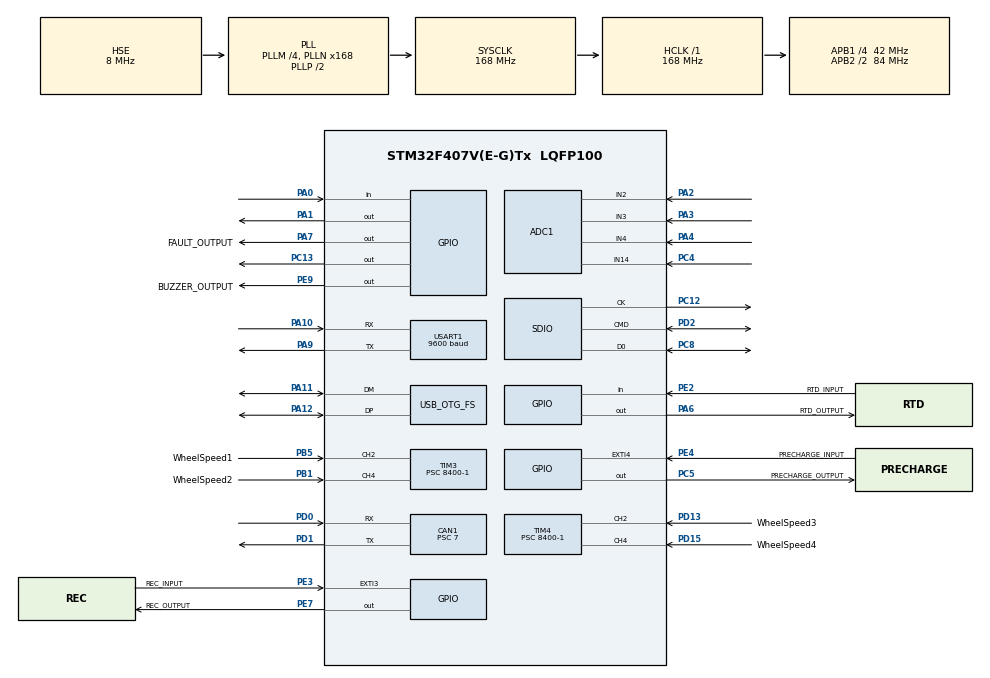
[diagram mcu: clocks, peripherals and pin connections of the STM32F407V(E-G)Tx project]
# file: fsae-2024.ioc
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ADC1.Channel-0\#ChannelRegularConversion=ADC_CHANNEL_2
ADC1.Channel-1\#ChannelRegularConversion=ADC_CHANNEL_3
ADC1.Channel-2\#ChannelRegularConversion=ADC_CHANNEL_4
ADC1.Channel-3\#ChannelRegularConversion=ADC_CHANNEL_14
ADC1.ContinuousConvMode=ENABLE
ADC1.DMAContinuousRequests=ENABLE
ADC1.NbrOfConversion=4
ADC1.NbrOfConversionFlag=1
ADC1.Rank-0\#ChannelRegularConversion=1
ADC1.Rank-1\#ChannelRegularConversion=2
ADC1.Rank-2\#ChannelRegularConversion=3
ADC1.Rank-3\#ChannelRegularConversion=4
ADC1.SamplingTime-0\#ChannelRegularConversion=ADC_SAMPLETIME_480CYCLES
ADC1.SamplingTime-1\#ChannelRegularConversion=ADC_SAMPLETIME_480CYCLES
ADC1.SamplingTime-2\#ChannelRegularConversion=ADC_SAMPLETIME_480CYCLES
ADC1.SamplingTime-3\#ChannelRegularConversion=ADC_SAMPLETIME_480CYCLES
ADC1.ScanConvMode=ENABLE
ADC1.master=1
CAN1.BS1=CAN_BS1_5TQ
CAN1.BS2=CAN_BS2_6TQ
CAN1.CalculateBaudRate=499999
CAN1.CalculateTimeBit=2000
CAN1.CalculateTimeQuantum=166.66666666666669
CAN1.Mode=CAN_MODE_NORMAL
CAN1.NART=DISABLE
CAN1.Prescaler=7
CAN1.SJW=CAN_SJW_4TQ
CAN1.TXFP=DISABLE
Dma.ADC1.0.Direction=DMA_PERIPH_TO_MEMORY
Dma.ADC1.0.FIFOMode=DMA_FIFOMODE_DISABLE
Dma.ADC1.0.Instance=DMA2_Stream0
Dma.ADC1.0.MemDataAlignment=DMA_MDATAALIGN_HALFWORD
Dma.ADC1.0.MemInc=DMA_MINC_ENABLE
Dma.ADC1.0.Mode=DMA_CIRCULAR
Dma.ADC1.0.PeriphDataAlignment=DMA_PDATAALIGN_HALFWORD
Dma.ADC1.0.PeriphInc=DMA_PINC_DISABLE
Dma.ADC1.0.Priority=DMA_PRIORITY_LOW
Dma.Request0=ADC1
Dma.Request1=SDIO_RX
Dma.Request2=SDIO_TX
Dma.Request3=USART1_RX
Dma.SDIO_RX.1.Direction=DMA_PERIPH_TO_MEMORY
Dma.SDIO_RX.1.FIFOMode=DMA_FIFOMODE_ENABLE
Dma.SDIO_RX.1.FIFOThreshold=DMA_FIFO_THRESHOLD_FULL
Dma.SDIO_RX.1.Instance=DMA2_Stream3
Dma.SDIO_RX.1.MemBurst=DMA_MBURST_INC4
Dma.SDIO_RX.1.MemDataAlignment=DMA_MDATAALIGN_WORD
Dma.SDIO_RX.1.MemInc=DMA_MINC_ENABLE
Dma.SDIO_RX.1.Mode=DMA_PFCTRL
Dma.SDIO_RX.1.PeriphBurst=DMA_PBURST_INC4
Dma.SDIO_RX.1.PeriphDataAlignment=DMA_PDATAALIGN_WORD
Dma.SDIO_RX.1.PeriphInc=DMA_PINC_DISABLE
Dma.SDIO_RX.1.Priority=DMA_PRIORITY_LOW
Dma.SDIO_TX.2.Direction=DMA_MEMORY_TO_PERIPH
Dma.SDIO_TX.2.FIFOMode=DMA_FIFOMODE_ENABLE
Dma.SDIO_TX.2.FIFOThreshold=DMA_FIFO_THRESHOLD_FULL
Dma.SDIO_TX.2.Instance=DMA2_Stream6
Dma.SDIO_TX.2.MemBurst=DMA_MBURST_INC4
Dma.SDIO_TX.2.MemDataAlignment=DMA_MDATAALIGN_WORD
Dma.SDIO_TX.2.MemInc=DMA_MINC_ENABLE
Dma.SDIO_TX.2.Mode=DMA_PFCTRL
Dma.SDIO_TX.2.PeriphBurst=DMA_PBURST_INC4
Dma.SDIO_TX.2.PeriphDataAlignment=DMA_PDATAALIGN_WORD
Dma.SDIO_TX.2.PeriphInc=DMA_PINC_DISABLE
Dma.SDIO_TX.2.Priority=DMA_PRIORITY_LOW
Dma.USART1_RX.3.Direction=DMA_PERIPH_TO_MEMORY
Dma.USART1_RX.3.FIFOMode=DMA_FIFOMODE_DISABLE
Dma.USART1_RX.3.Instance=DMA2_Stream2
Dma.USART1_RX.3.MemDataAlignment=DMA_MDATAALIGN_BYTE
Dma.USART1_RX.3.MemInc=DMA_MINC_ENABLE
Dma.USART1_RX.3.Mode=DMA_NORMAL
Dma.USART1_RX.3.PeriphDataAlignment=DMA_PDATAALIGN_BYTE
Dma.USART1_RX.3.PeriphInc=DMA_PINC_DISABLE
Dma.USART1_RX.3.Priority=DMA_PRIORITY_LOW
Mcu.Family=STM32F4
Mcu.Name=STM32F407V(E-G)Tx
Mcu.Package=LQFP100
NVIC.CAN1_RX0_IRQn=true\:0\:0\:false\:false\:true\:false\:true\:true\:true
NVIC.CAN1_TX_IRQn=true\:0\:0\:false\:false\:true\:false\:true\:true\:true
NVIC.DMA2_Stream0_IRQn=true\:0\:0\:false\:false\:true\:true\:false\:true\:true
NVIC.DMA2_Stream2_IRQn=true\:0\:0\:false\:false\:true\:true\:false\:true\:true
NVIC.DMA2_Stream3_IRQn=true\:0\:0\:false\:false\:true\:true\:false\:true\:true
NVIC.DMA2_Stream6_IRQn=true\:0\:0\:false\:false\:true\:true\:false\:true\:true
NVIC.EXTI3_IRQn=true\:0\:0\:false\:false\:true\:false\:true\:true\:true
NVIC.EXTI4_IRQn=true\:0\:0\:false\:false\:true\:false\:true\:true\:true
NVIC.OTG_FS_IRQn=true\:0\:0\:false\:false\:true\:false\:true\:true\:true
NVIC.PriorityGroup=NVIC_PRIORITYGROUP_4
NVIC.SDIO_IRQn=true\:0\:0\:false\:false\:true\:false\:true\:true\:true
NVIC.TIM1_UP_TIM10_IRQn=true\:15\:0\:false\:false\:true\:false\:false\:true\:true
NVIC.TIM3_IRQn=true\:0\:0\:false\:false\:true\:false\:true\:true\:true
NVIC.TIM4_IRQn=true\:0\:0\:false\:false\:true\:false\:true\:true\:true
NVIC.TimeBase=TIM1_UP_TIM10_IRQn
NVIC.TimeBaseIP=TIM1
NVIC.USART1_IRQn=true\:0\:0\:false\:false\:true\:false\:true\:true\:true
PA0-WKUP.Signal=GPIO_Input
PA1.PinState=GPIO_PIN_SET
PA1.Signal=GPIO_Output
PA10.Mode=Asynchronous
PA10.Signal=USART1_RX
PA11.Mode=Device_Only
PA11.Signal=USB_OTG_FS_DM
PA12.Mode=Device_Only
PA12.Signal=USB_OTG_FS_DP
PA13.Mode=Serial_Wire
PA13.Signal=SYS_JTMS-SWDIO
PA14.Mode=Serial_Wire
PA14.Signal=SYS_JTCK-SWCLK
PA2.Signal=ADCx_IN2
PA3.Signal=ADCx_IN3
PA4.Signal=ADCx_IN4
PA6.GPIO_Label=RTD_OUTPUT
PA6.Signal=GPIO_Output
PA7.GPIO_Label=FAULT_OUTPUT
PA7.Signal=GPIO_Output
PA9.Mode=Asynchronous
PA9.Signal=USART1_TX
PB1.GPIO_Label=WheelSpeed2
PB1.Signal=S_TIM3_CH4
PB5.GPIO_Label=WheelSpeed1
PB5.Signal=S_TIM3_CH2
PC12.Mode=SD_1_bit
PC12.Signal=SDIO_CK
PC13-ANTI_TAMP.GPIO_PuPd=GPIO_PULLDOWN
PC13-ANTI_TAMP.Signal=GPIO_Output
PC14-OSC32_IN.Mode=LSE-External-Oscillator
PC14-OSC32_IN.Signal=RCC_OSC32_IN
PC15-OSC32_OUT.Mode=LSE-External-Oscillator
PC15-OSC32_OUT.Signal=RCC_OSC32_OUT
PC4.Signal=ADCx_IN14
PC5.GPIO_Label=PRECHARGE_OUTPUT
PC5.Signal=GPIO_Output
PC8.GPIO_PuPd=GPIO_PULLUP
PC8.Mode=SD_1_bit
PC8.Signal=SDIO_D0
PD0.Mode=CAN_Activate
PD0.Signal=CAN1_RX
PD1.Mode=CAN_Activate
PD1.Signal=CAN1_TX
PD13.GPIO_Label=WheelSpeed3
PD13.Signal=S_TIM4_CH2
PD15.GPIO_Label=WheelSpeed4
PD15.Signal=S_TIM4_CH4
PD2.GPIO_PuPd=GPIO_PULLUP
PD2.Mode=SD_1_bit
PD2.Signal=SDIO_CMD
PE2.GPIO_Label=RTD_INPUT
PE2.Signal=GPIO_Input
PE3.GPIO_Label=REC_INPUT
PE3.GPIO_ModeDefaultEXTI=GPIO_MODE_IT_FALLING
PE3.Signal=GPXTI3
PE4.GPIO_Label=PRECHARGE_INPUT
PE4.GPIO_ModeDefaultEXTI=GPIO_MODE_IT_RISING_FALLING
PE4.Signal=GPXTI4
PE7.GPIO_Label=REC_OUTPUT
PE7.Signal=GPIO_Output
PE9.GPIO_Label=BUZZER_OUTPUT
PE9.Signal=GPIO_Output
PH0-OSC_IN.Mode=HSE-External-Oscillator
PH0-OSC_IN.Signal=RCC_OSC_IN
PH1-OSC_OUT.Mode=HSE-External-Oscillator
PH1-OSC_OUT.Signal=RCC_OSC_OUT
ProjectManager.HeapSize=0x2000
ProjectManager.StackSize=0x4000
ProjectManager.TargetToolchain=STM32CubeIDE
RCC.48MHZClocksFreq_Value=48000000
RCC.AHBFreq_Value=168000000
RCC.APB1CLKDivider=RCC_HCLK_DIV4
RCC.APB1Freq_Value=42000000
RCC.APB1TimFreq_Value=84000000
RCC.APB2CLKDivider=RCC_HCLK_DIV2
RCC.APB2Freq_Value=84000000
RCC.APB2TimFreq_Value=168000000
RCC.CortexFreq_Value=168000000
RCC.HCLKFreq_Value=168000000
RCC.HSE_VALUE=8000000
RCC.HSI_VALUE=16000000
RCC.PLLM=4
RCC.PLLN=168
RCC.PLLQ=7
RCC.SYSCLKFreq_VALUE=168000000
RCC.SYSCLKSource=RCC_SYSCLKSOURCE_PLLCLK
RCC.VCOOutputFreq_Value=336000000
SDIO.ClockDiv=0
SH.ADCx_IN14.0=ADC1_IN14,IN14
SH.ADCx_IN2.0=ADC1_IN2,IN2
SH.ADCx_IN3.0=ADC1_IN3,IN3
SH.ADCx_IN4.0=ADC1_IN4,IN4
SH.S_TIM3_CH2.0=TIM3_CH2,Input_Capture2_from_TI2
SH.S_TIM3_CH4.0=TIM3_CH4,Input_Capture4_from_TI4
SH.S_TIM4_CH2.0=TIM4_CH2,Input_Capture2_from_TI2
SH.S_TIM4_CH4.0=TIM4_CH4,Input_Capture4_from_TI4
STMicroelectronics.X-CUBE-AZRTOS-F4.1.1.0.FX_APP_MEM_POOL_SIZE=10240
STMicroelectronics.X-CUBE-AZRTOS-F4.1.1.0.FX_DRIVER_SD_INIT=0
STMicroelectronics.X-CUBE-AZRTOS-F4.1.1.0.FileXCcFileOoSystemJjFileXJjCore=true
STMicroelectronics.X-CUBE-AZRTOS-F4.1.1.0.FileXCcFileOoSystemJjFileXJjTraceXOoSupport=true
STMicroelectronics.X-CUBE-AZRTOS-F4.1.1.0.InterfacesCcFileOoSystemJjFileXOoInternalOoRAMOointerface=true
STMicroelectronics.X-CUBE-AZRTOS-F4.1.1.0.InterfacesCcFileOoSystemJjFileXOoSDOointerface=true
STMicroelectronics.X-CUBE-AZRTOS-F4.1.1.0.LX_DRIVER_CALLS_QSPI_INIT=1
STMicroelectronics.X-CUBE-AZRTOS-F4.1.1.0.NX_DISABLE_IPV4=true
STMicroelectronics.X-CUBE-AZRTOS-F4.1.1.0.NX_DISABLE_LOOPBACK_INTERFACE=true
STMicroelectronics.X-CUBE-AZRTOS-F4.1.1.0.NX_DISABLE_RX_SIZE_CHECKING=false
STMicroelectronics.X-CUBE-AZRTOS-F4.1.1.0.TX_APP_MEM_POOL_SIZE=10240
STMicroelectronics.X-CUBE-AZRTOS-F4.1.1.0.TX_DISABLE_PREEMPTION_THRESHOLD=0
STMicroelectronics.X-CUBE-AZRTOS-F4.1.1.0.TX_TIMER_TICKS_PER_SECOND=65535
STMicroelectronics.X-CUBE-AZRTOS-F4.1.1.0.ThreadXCcRTOSJjThreadXJjCore=true
STMicroelectronics.X-CUBE-AZRTOS-F4.1.1.0.ThreadXCcRTOSJjThreadXJjLowOoPowerOosupport=true
STMicroelectronics.X-CUBE-AZRTOS-F4.1.1.0.ThreadXCcRTOSJjThreadXJjPerformanceInfo=true
STMicroelectronics.X-CUBE-AZRTOS-F4.1.1.0.ThreadXCcRTOSJjThreadXJjTraceXOosupport=true
STMicroelectronics.X-CUBE-AZRTOS-F4.1.1.0.UX_DEVICE_APP_MEM_POOL_SIZE=12*1024
STMicroelectronics.X-CUBE-AZRTOS-F4.1.1.0_IsAnAzureRtosMw=true
TIM3.AutoReloadPreload=TIM_AUTORELOAD_PRELOAD_ENABLE
TIM3.Channel-Input_Capture2_from_TI2=TIM_CHANNEL_2
TIM3.Channel-Input_Capture4_from_TI4=TIM_CHANNEL_4
TIM3.ICPolarity_CH2=TIM_INPUTCHANNELPOLARITY_RISING
TIM3.ICPolarity_CH4=TIM_INPUTCHANNELPOLARITY_RISING
TIM3.Prescaler=8400-1
TIM4.AutoReloadPreload=TIM_AUTORELOAD_PRELOAD_ENABLE
TIM4.Channel-Input_Capture2_from_TI2=TIM_CHANNEL_2
TIM4.Channel-Input_Capture4_from_TI4=TIM_CHANNEL_4
TIM4.ICPolarity_CH2=TIM_INPUTCHANNELPOLARITY_RISING
TIM4.ICPolarity_CH4=TIM_INPUTCHANNELPOLARITY_RISING
TIM4.Prescaler=8400-1
USART1.BaudRate=9600
USART1.VirtualMode=VM_ASYNC
USB_OTG_FS.VirtualMode=Device_Only
VP_STMicroelectronics.X-CUBE-AZRTOS-F4_VS_FileOoSystemJjFileX_6.1.10_1.1.0.Mode=FileOoSystemJjFileX
VP_STMicroelectronics.X-CUBE-AZRTOS-F4_VS_FileOoSystemJjInterfaces_2.1.0_1.1.0.Mode=FileOoSystemJjInterfaces
VP_STMicroelectronics.X-CUBE-AZRTOS-F4_VS_RTOSJjThreadX_6.1.10_1.1.0.Mode=RTOSJjThreadX
VP_SYS_VS_tim1.Mode=TIM1
VP_TIM3_VS_ClockSourceINT.Mode=Internal
VP_TIM4_VS_ClockSourceINT.Mode=Internal
board=custom

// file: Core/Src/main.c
/* USER CODE BEGIN Header */
/**
 ******************************************************************************
 * @file           : main.c
 * @brief          : Main program body
 ******************************************************************************
 * @attention
 *
 * Copyright (c) 2023 STMicroelectronics.
 * All rights reserved.
 *
 * This software is licensed under terms that can be found in the LICENSE file
 * in the root directory of this software component.
 * If no LICENSE file comes with this software, it is provided AS-IS.
 *
 ******************************************************************************
 */
/* USER CODE END Header */
#include "main.h"

#include "app_threadx.h"

/* USER CODE BEGIN Includes */
#include "SEGGER_RTT.h"
#include "config.h"
#include "usb_device.h"
#include "wheel.h"

/* USER CODE END Includes */

ADC_HandleTypeDef hadc1;
DMA_HandleTypeDef hdma_adc1;

CAN_HandleTypeDef hcan1;

SD_HandleTypeDef hsd;
DMA_HandleTypeDef hdma_sdio_rx;
DMA_HandleTypeDef hdma_sdio_tx;

TIM_HandleTypeDef htim3;
TIM_HandleTypeDef htim4;

UART_HandleTypeDef huart1;
DMA_HandleTypeDef hdma_usart1_rx;

PCD_HandleTypeDef hpcd_USB_OTG_FS;

void SystemClock_Config(void);
static void MX_GPIO_Init(void);
static void MX_DMA_Init(void);
static void MX_ADC1_Init(void);
static void MX_SDIO_SD_Init(void);
static void MX_CAN1_Init(void);
static void MX_USB_OTG_FS_PCD_Init(void);
static void MX_TIM3_Init(void);
static void MX_TIM4_Init(void);
static void MX_USART1_UART_Init(void);

int main(void) {
  /* USER CODE BEGIN 1 */
  SEGGER_RTT_Init();
  /* USER CODE END 1 */

  /* MCU Configuration--------------------------------------------------------*/

  /* Reset of all peripherals, Initializes the Flash interface and the Systick.
   */
  HAL_Init();

  /* Configure the system clock */
  SystemClock_Config();

  /* Initialize all configured peripherals */
  MX_GPIO_Init();
  MX_DMA_Init();
  MX_ADC1_Init();
  MX_SDIO_SD_Init();
  MX_CAN1_Init();
  MX_USB_OTG_FS_PCD_Init();
  MX_TIM3_Init();
  MX_TIM4_Init();
  MX_USART1_UART_Init();
  /* USER CODE BEGIN 2 */
  MX_USB_DEVICE_Init();
  CDC_Transmit_FS((uint8_t *)"Hello World!\r\n", 14);

  /* USER CODE END 2 */

  MX_ThreadX_Init();

  /* We should never get here as control is now taken by the scheduler */

  /* Infinite loop */
  while (1) {

  }
}

void SystemClock_Config(void) {
  RCC_OscInitTypeDef RCC_OscInitStruct = {0};
  RCC_ClkInitTypeDef RCC_ClkInitStruct = {0};

  /** Configure the main internal regulator output voltage
   */
  __HAL_RCC_PWR_CLK_ENABLE();
  __HAL_PWR_VOLTAGESCALING_CONFIG(PWR_REGULATOR_VOLTAGE_SCALE1);

  /** Initializes the RCC Oscillators according to the specified parameters
   * in the RCC_OscInitTypeDef structure.
   */
  RCC_OscInitStruct.OscillatorType = RCC_OSCILLATORTYPE_HSE;
  RCC_OscInitStruct.HSEState = RCC_HSE_ON;
  RCC_OscInitStruct.PLL.PLLState = RCC_PLL_ON;
  RCC_OscInitStruct.PLL.PLLSource = RCC_PLLSOURCE_HSE;
  RCC_OscInitStruct.PLL.PLLM = 4;
  RCC_OscInitStruct.PLL.PLLN = 168;
  RCC_OscInitStruct.PLL.PLLP = RCC_PLLP_DIV2;
  RCC_OscInitStruct.PLL.PLLQ = 7;
  if (HAL_RCC_OscConfig(&RCC_OscInitStruct) != HAL_OK) {
    Error_Handler();
  }

  /** Initializes the CPU, AHB and APB buses clocks
   */
  RCC_ClkInitStruct.ClockType = RCC_CLOCKTYPE_HCLK | RCC_CLOCKTYPE_SYSCLK |
                                RCC_CLOCKTYPE_PCLK1 | RCC_CLOCKTYPE_PCLK2;
  RCC_ClkInitStruct.SYSCLKSource = RCC_SYSCLKSOURCE_PLLCLK;
  RCC_ClkInitStruct.AHBCLKDivider = RCC_SYSCLK_DIV1;
  RCC_ClkInitStruct.APB1CLKDivider = RCC_HCLK_DIV4;
  RCC_ClkInitStruct.APB2CLKDivider = RCC_HCLK_DIV2;

  if (HAL_RCC_ClockConfig(&RCC_ClkInitStruct, FLASH_LATENCY_5) != HAL_OK) {
    Error_Handler();
  }
}

static void MX_ADC1_Init(void) {

  ADC_ChannelConfTypeDef sConfig = {0};

  /** Configure the global features of the ADC (Clock, Resolution, Data
   * Alignment and number of conversion)
   */
  hadc1.Instance = ADC1;
  hadc1.Init.ClockPrescaler = ADC_CLOCK_SYNC_PCLK_DIV4;
  hadc1.Init.Resolution = ADC_RESOLUTION_12B;
  hadc1.Init.ScanConvMode = ENABLE;
  hadc1.Init.ContinuousConvMode = ENABLE;
  hadc1.Init.DiscontinuousConvMode = DISABLE;
  hadc1.Init.ExternalTrigConvEdge = ADC_EXTERNALTRIGCONVEDGE_NONE;
  hadc1.Init.ExternalTrigConv = ADC_SOFTWARE_START;
  hadc1.Init.DataAlign = ADC_DATAALIGN_RIGHT;
  hadc1.Init.NbrOfConversion = 4;
  hadc1.Init.DMAContinuousRequests = ENABLE;
  hadc1.Init.EOCSelection = ADC_EOC_SINGLE_CONV;
  if (HAL_ADC_Init(&hadc1) != HAL_OK) {
    Error_Handler();
  }

  /** Configure for the selected ADC regular channel its corresponding rank in
   * the sequencer and its sample time.
   */
  sConfig.Channel = ADC_CHANNEL_2;
  sConfig.Rank = 1;
  sConfig.SamplingTime = ADC_SAMPLETIME_480CYCLES;
  if (HAL_ADC_ConfigChannel(&hadc1, &sConfig) != HAL_OK) {
    Error_Handler();
  }

  /** Configure for the selected ADC regular channel its corresponding rank in
   * the sequencer and its sample time.
   */
  sConfig.Channel = ADC_CHANNEL_3;
  sConfig.Rank = 2;
  if (HAL_ADC_ConfigChannel(&hadc1, &sConfig) != HAL_OK) {
    Error_Handler();
  }

  /** Configure for the selected ADC regular channel its corresponding rank in
   * the sequencer and its sample time.
   */
  sConfig.Channel = ADC_CHANNEL_4;
  sConfig.Rank = 3;
  if (HAL_ADC_ConfigChannel(&hadc1, &sConfig) != HAL_OK) {
    Error_Handler();
  }

  /** Configure for the selected ADC regular channel its corresponding rank in
   * the sequencer and its sample time.
   */
  sConfig.Channel = ADC_CHANNEL_14;
  sConfig.Rank = 4;
  if (HAL_ADC_ConfigChannel(&hadc1, &sConfig) != HAL_OK) {
    Error_Handler();
  }
}

static void MX_CAN1_Init(void) {

  hcan1.Instance = CAN1;
  hcan1.Init.Prescaler = 7;
  hcan1.Init.Mode = CAN_MODE_NORMAL;
  hcan1.Init.SyncJumpWidth = CAN_SJW_4TQ;
  hcan1.Init.TimeSeg1 = CAN_BS1_5TQ;
  hcan1.Init.TimeSeg2 = CAN_BS2_6TQ;
  hcan1.Init.TimeTriggeredMode = DISABLE;
  hcan1.Init.AutoBusOff = DISABLE;
  hcan1.Init.AutoWakeUp = DISABLE;
  hcan1.Init.AutoRetransmission = DISABLE;
  hcan1.Init.ReceiveFifoLocked = DISABLE;
  hcan1.Init.TransmitFifoPriority = DISABLE;
  if (HAL_CAN_Init(&hcan1) != HAL_OK) {
    Error_Handler();
  }
  /* USER CODE BEGIN CAN1_Init 2 */
  CAN_FilterTypeDef can_filter;
  can_filter.FilterBank = 0;
  can_filter.FilterMode = CAN_FILTERMODE_IDMASK;
  can_filter.FilterScale = CAN_FILTERSCALE_16BIT;
  can_filter.FilterIdHigh = 0x0000;
  can_filter.FilterIdLow = 0x0000;
  can_filter.FilterMaskIdHigh = 0x0000;
  can_filter.FilterMaskIdLow = 0x0000;
  can_filter.FilterFIFOAssignment = CAN_RX_FIFO0;
  can_filter.FilterActivation = ENABLE;

  if (HAL_CAN_ConfigFilter(&hcan1, &can_filter) != HAL_OK) {
    SEGGER_RTT_printf(0, "CAN filter failed\r\n");
    Error_Handler();
  }

  HAL_CAN_Start(&hcan1);

  if (HAL_CAN_ActivateNotification(&hcan1, CAN_IT_RX_FIFO0_MSG_PENDING) !=
      HAL_OK) {
    SEGGER_RTT_printf(0, "CAN notification failed\r\n");
    // Error_Handler();
  }
  /* USER CODE END CAN1_Init 2 */
}

static void MX_SDIO_SD_Init(void) {

  hsd.Instance = SDIO;
  hsd.Init.ClockEdge = SDIO_CLOCK_EDGE_RISING;
  hsd.Init.ClockBypass = SDIO_CLOCK_BYPASS_DISABLE;
  hsd.Init.ClockPowerSave = SDIO_CLOCK_POWER_SAVE_DISABLE;
  hsd.Init.BusWide = SDIO_BUS_WIDE_1B;
  hsd.Init.HardwareFlowControl = SDIO_HARDWARE_FLOW_CONTROL_DISABLE;
  hsd.Init.ClockDiv = 0;
  if (HAL_SD_Init(&hsd) != HAL_OK) {
    Error_Handler();
  }
}

static void MX_TIM3_Init(void) {

  TIM_ClockConfigTypeDef sClockSourceConfig = {0};
  TIM_MasterConfigTypeDef sMasterConfig = {0};
  TIM_IC_InitTypeDef sConfigIC = {0};

  htim3.Instance = TIM3;
  htim3.Init.Prescaler = 8400 - 1;
  htim3.Init.CounterMode = TIM_COUNTERMODE_UP;
  htim3.Init.Period = 65535;
  htim3.Init.ClockDivision = TIM_CLOCKDIVISION_DIV1;
  htim3.Init.AutoReloadPreload = TIM_AUTORELOAD_PRELOAD_ENABLE;
  if (HAL_TIM_Base_Init(&htim3) != HAL_OK) {
    Error_Handler();
  }
  sClockSourceConfig.ClockSource = TIM_CLOCKSOURCE_INTERNAL;
  if (HAL_TIM_ConfigClockSource(&htim3, &sClockSourceConfig) != HAL_OK) {
    Error_Handler();
  }
  if (HAL_TIM_IC_Init(&htim3) != HAL_OK) {
    Error_Handler();
  }
  sMasterConfig.MasterOutputTrigger = TIM_TRGO_RESET;
  sMasterConfig.MasterSlaveMode = TIM_MASTERSLAVEMODE_DISABLE;
  if (HAL_TIMEx_MasterConfigSynchronization(&htim3, &sMasterConfig) != HAL_OK) {
    Error_Handler();
  }
  sConfigIC.ICPolarity = TIM_INPUTCHANNELPOLARITY_RISING;
  sConfigIC.ICSelection = TIM_ICSELECTION_DIRECTTI;
  sConfigIC.ICPrescaler = TIM_ICPSC_DIV1;
  sConfigIC.ICFilter = 0;
  if (HAL_TIM_IC_ConfigChannel(&htim3, &sConfigIC, TIM_CHANNEL_2) != HAL_OK) {
    Error_Handler();
  }
  if (HAL_TIM_IC_ConfigChannel(&htim3, &sConfigIC, TIM_CHANNEL_4) != HAL_OK) {
    Error_Handler();
  }
}

static void MX_TIM4_Init(void) {

  TIM_ClockConfigTypeDef sClockSourceConfig = {0};
  TIM_MasterConfigTypeDef sMasterConfig = {0};
  TIM_IC_InitTypeDef sConfigIC = {0};

  htim4.Instance = TIM4;
  htim4.Init.Prescaler = 8400 - 1;
  htim4.Init.CounterMode = TIM_COUNTERMODE_UP;
  htim4.Init.Period = 65535;
  htim4.Init.ClockDivision = TIM_CLOCKDIVISION_DIV1;
  htim4.Init.AutoReloadPreload = TIM_AUTORELOAD_PRELOAD_ENABLE;
  if (HAL_TIM_Base_Init(&htim4) != HAL_OK) {
    Error_Handler();
  }
  sClockSourceConfig.ClockSource = TIM_CLOCKSOURCE_INTERNAL;
  if (HAL_TIM_ConfigClockSource(&htim4, &sClockSourceConfig) != HAL_OK) {
    Error_Handler();
  }
  if (HAL_TIM_IC_Init(&htim4) != HAL_OK) {
    Error_Handler();
  }
  sMasterConfig.MasterOutputTrigger = TIM_TRGO_RESET;
  sMasterConfig.MasterSlaveMode = TIM_MASTERSLAVEMODE_DISABLE;
  if (HAL_TIMEx_MasterConfigSynchronization(&htim4, &sMasterConfig) != HAL_OK) {
    Error_Handler();
  }
  sConfigIC.ICPolarity = TIM_INPUTCHANNELPOLARITY_RISING;
  sConfigIC.ICSelection = TIM_ICSELECTION_DIRECTTI;
  sConfigIC.ICPrescaler = TIM_ICPSC_DIV1;
  sConfigIC.ICFilter = 0;
  if (HAL_TIM_IC_ConfigChannel(&htim4, &sConfigIC, TIM_CHANNEL_2) != HAL_OK) {
    Error_Handler();
  }
  if (HAL_TIM_IC_ConfigChannel(&htim4, &sConfigIC, TIM_CHANNEL_4) != HAL_OK) {
    Error_Handler();
  }
}

static void MX_USART1_UART_Init(void) {

  huart1.Instance = USART1;
  huart1.Init.BaudRate = 9600;
  huart1.Init.WordLength = UART_WORDLENGTH_8B;
  huart1.Init.StopBits = UART_STOPBITS_1;
  huart1.Init.Parity = UART_PARITY_NONE;
  huart1.Init.Mode = UART_MODE_TX_RX;
  huart1.Init.HwFlowCtl = UART_HWCONTROL_NONE;
  huart1.Init.OverSampling = UART_OVERSAMPLING_16;
  if (HAL_UART_Init(&huart1) != HAL_OK) {
    Error_Handler();
  }
}

static void MX_USB_OTG_FS_PCD_Init(void) {

  hpcd_USB_OTG_FS.Instance = USB_OTG_FS;
  hpcd_USB_OTG_FS.Init.dev_endpoints = 4;
  hpcd_USB_OTG_FS.Init.speed = PCD_SPEED_FULL;
  hpcd_USB_OTG_FS.Init.dma_enable = DISABLE;
  hpcd_USB_OTG_FS.Init.phy_itface = PCD_PHY_EMBEDDED;
  hpcd_USB_OTG_FS.Init.Sof_enable = DISABLE;
  hpcd_USB_OTG_FS.Init.low_power_enable = DISABLE;
  hpcd_USB_OTG_FS.Init.lpm_enable = DISABLE;
  hpcd_USB_OTG_FS.Init.vbus_sensing_enable = DISABLE;
  hpcd_USB_OTG_FS.Init.use_dedicated_ep1 = DISABLE;
  if (HAL_PCD_Init(&hpcd_USB_OTG_FS) != HAL_OK) {
    Error_Handler();
  }
}

static void MX_DMA_Init(void) {
  /* DMA controller clock enable */
  __HAL_RCC_DMA2_CLK_ENABLE();

  /* DMA interrupt init */
  /* DMA2_Stream0_IRQn interrupt configuration */
  HAL_NVIC_SetPriority(DMA2_Stream0_IRQn, 0, 0);
  HAL_NVIC_EnableIRQ(DMA2_Stream0_IRQn);
  /* DMA2_Stream2_IRQn interrupt configuration */
  HAL_NVIC_SetPriority(DMA2_Stream2_IRQn, 0, 0);
  HAL_NVIC_EnableIRQ(DMA2_Stream2_IRQn);
  /* DMA2_Stream3_IRQn interrupt configuration */
  HAL_NVIC_SetPriority(DMA2_Stream3_IRQn, 0, 0);
  HAL_NVIC_EnableIRQ(DMA2_Stream3_IRQn);
  /* DMA2_Stream6_IRQn interrupt configuration */
  HAL_NVIC_SetPriority(DMA2_Stream6_IRQn, 0, 0);
  HAL_NVIC_EnableIRQ(DMA2_Stream6_IRQn);
}

static void MX_GPIO_Init(void) {
  GPIO_InitTypeDef GPIO_InitStruct = {0};

  /* GPIO Ports Clock Enable */
  __HAL_RCC_GPIOE_CLK_ENABLE();
  __HAL_RCC_GPIOC_CLK_ENABLE();
  __HAL_RCC_GPIOH_CLK_ENABLE();
  __HAL_RCC_GPIOA_CLK_ENABLE();
  __HAL_RCC_GPIOB_CLK_ENABLE();
  __HAL_RCC_GPIOD_CLK_ENABLE();

  /*Configure GPIO pin Output Level */
  HAL_GPIO_WritePin(GPIOC, GPIO_PIN_13 | PRECHARGE_OUTPUT_Pin, GPIO_PIN_RESET);

  /*Configure GPIO pin Output Level */
  HAL_GPIO_WritePin(GPIOA, GPIO_PIN_1, GPIO_PIN_SET);

  /*Configure GPIO pin Output Level */
  HAL_GPIO_WritePin(GPIOA, RTD_OUTPUT_Pin | FAULT_OUTPUT_Pin, GPIO_PIN_RESET);

  /*Configure GPIO pin Output Level */
  HAL_GPIO_WritePin(GPIOE, REC_OUTPUT_Pin | BUZZER_OUTPUT_Pin, GPIO_PIN_RESET);

  /*Configure GPIO pin : RTD_INPUT_Pin */
  GPIO_InitStruct.Pin = RTD_INPUT_Pin;
  GPIO_InitStruct.Mode = GPIO_MODE_INPUT;
  GPIO_InitStruct.Pull = GPIO_NOPULL;
  HAL_GPIO_Init(RTD_INPUT_GPIO_Port, &GPIO_InitStruct);

  /*Configure GPIO pin : REC_INPUT_Pin */
  GPIO_InitStruct.Pin = REC_INPUT_Pin;
  GPIO_InitStruct.Mode = GPIO_MODE_IT_FALLING;
  GPIO_InitStruct.Pull = GPIO_NOPULL;
  HAL_GPIO_Init(REC_INPUT_GPIO_Port, &GPIO_InitStruct);

  /*Configure GPIO pin : PRECHARGE_INPUT_Pin */
  GPIO_InitStruct.Pin = PRECHARGE_INPUT_Pin;
  GPIO_InitStruct.Mode = GPIO_MODE_IT_RISING_FALLING;
  GPIO_InitStruct.Pull = GPIO_NOPULL;
  HAL_GPIO_Init(PRECHARGE_INPUT_GPIO_Port, &GPIO_InitStruct);

  /*Configure GPIO pins : PE5 PE6 PE8 PE10
                           PE11 PE12 PE13 PE14
                           PE15 PE0 PE1 */
  GPIO_InitStruct.Pin = GPIO_PIN_5 | GPIO_PIN_6 | GPIO_PIN_8 | GPIO_PIN_10 |
                        GPIO_PIN_11 | GPIO_PIN_12 | GPIO_PIN_13 | GPIO_PIN_14 |
                        GPIO_PIN_15 | GPIO_PIN_0 | GPIO_PIN_1;
  GPIO_InitStruct.Mode = GPIO_MODE_ANALOG;
  GPIO_InitStruct.Pull = GPIO_NOPULL;
  HAL_GPIO_Init(GPIOE, &GPIO_InitStruct);

  /*Configure GPIO pin : PC13 */
  GPIO_InitStruct.Pin = GPIO_PIN_13;
  GPIO_InitStruct.Mode = GPIO_MODE_OUTPUT_PP;
  GPIO_InitStruct.Pull = GPIO_PULLDOWN;
  GPIO_InitStruct.Speed = GPIO_SPEED_FREQ_LOW;
  HAL_GPIO_Init(GPIOC, &GPIO_InitStruct);

  /*Configure GPIO pins : PC0 PC1 PC2 PC3
                           PC6 PC7 PC9 PC10
                           PC11 */
  GPIO_InitStruct.Pin = GPIO_PIN_0 | GPIO_PIN_1 | GPIO_PIN_2 | GPIO_PIN_3 |
                        GPIO_PIN_6 | GPIO_PIN_7 | GPIO_PIN_9 | GPIO_PIN_10 |
                        GPIO_PIN_11;
  GPIO_InitStruct.Mode = GPIO_MODE_ANALOG;
  GPIO_InitStruct.Pull = GPIO_NOPULL;
  HAL_GPIO_Init(GPIOC, &GPIO_InitStruct);

  /*Configure GPIO pin : PA0 */
  GPIO_InitStruct.Pin = GPIO_PIN_0;
  GPIO_InitStruct.Mode = GPIO_MODE_INPUT;
  GPIO_InitStruct.Pull = GPIO_NOPULL;
  HAL_GPIO_Init(GPIOA, &GPIO_InitStruct);

  /*Configure GPIO pins : PA1 RTD_OUTPUT_Pin FAULT_OUTPUT_Pin */
  GPIO_InitStruct.Pin = GPIO_PIN_1 | RTD_OUTPUT_Pin | FAULT_OUTPUT_Pin;
  GPIO_InitStruct.Mode = GPIO_MODE_OUTPUT_PP;
  GPIO_InitStruct.Pull = GPIO_NOPULL;
  GPIO_InitStruct.Speed = GPIO_SPEED_FREQ_LOW;
  HAL_GPIO_Init(GPIOA, &GPIO_InitStruct);

  /*Configure GPIO pins : PA5 PA8 PA15 */
  GPIO_InitStruct.Pin = GPIO_PIN_5 | GPIO_PIN_8 | GPIO_PIN_15;
  GPIO_InitStruct.Mode = GPIO_MODE_ANALOG;
  GPIO_InitStruct.Pull = GPIO_NOPULL;
  HAL_GPIO_Init(GPIOA, &GPIO_InitStruct);

  /*Configure GPIO pin : PRECHARGE_OUTPUT_Pin */
  GPIO_InitStruct.Pin = PRECHARGE_OUTPUT_Pin;
  GPIO_InitStruct.Mode = GPIO_MODE_OUTPUT_PP;
  GPIO_InitStruct.Pull = GPIO_NOPULL;
  GPIO_InitStruct.Speed = GPIO_SPEED_FREQ_LOW;
  HAL_GPIO_Init(PRECHARGE_OUTPUT_GPIO_Port, &GPIO_InitStruct);

  /*Configure GPIO pins : PB0 PB2 PB10 PB11
                           PB12 PB13 PB14 PB15
                           PB3 PB4 PB6 PB7
                           PB8 PB9 */
  GPIO_InitStruct.Pin = GPIO_PIN_0 | GPIO_PIN_2 | GPIO_PIN_10 | GPIO_PIN_11 |
                        GPIO_PIN_12 | GPIO_PIN_13 | GPIO_PIN_14 | GPIO_PIN_15 |
                        GPIO_PIN_3 | GPIO_PIN_4 | GPIO_PIN_6 | GPIO_PIN_7 |
                        GPIO_PIN_8 | GPIO_PIN_9;
  GPIO_InitStruct.Mode = GPIO_MODE_ANALOG;
  GPIO_InitStruct.Pull = GPIO_NOPULL;
  HAL_GPIO_Init(GPIOB, &GPIO_InitStruct);

  /*Configure GPIO pins : REC_OUTPUT_Pin BUZZER_OUTPUT_Pin */
  GPIO_InitStruct.Pin = REC_OUTPUT_Pin | BUZZER_OUTPUT_Pin;
  GPIO_InitStruct.Mode = GPIO_MODE_OUTPUT_PP;
  GPIO_InitStruct.Pull = GPIO_NOPULL;
  GPIO_InitStruct.Speed = GPIO_SPEED_FREQ_LOW;
  HAL_GPIO_Init(GPIOE, &GPIO_InitStruct);

  /*Configure GPIO pins : PD8 PD9 PD10 PD11
                           PD12 PD14 PD3 PD4
                           PD5 PD6 PD7 */
  GPIO_InitStruct.Pin = GPIO_PIN_8 | GPIO_PIN_9 | GPIO_PIN_10 | GPIO_PIN_11 |
                        GPIO_PIN_12 | GPIO_PIN_14 | GPIO_PIN_3 | GPIO_PIN_4 |
                        GPIO_PIN_5 | GPIO_PIN_6 | GPIO_PIN_7;
  GPIO_InitStruct.Mode = GPIO_MODE_ANALOG;
  GPIO_InitStruct.Pull = GPIO_NOPULL;
  HAL_GPIO_Init(GPIOD, &GPIO_InitStruct);

  /* EXTI interrupt init*/
  HAL_NVIC_SetPriority(EXTI3_IRQn, 0, 0);
  HAL_NVIC_EnableIRQ(EXTI3_IRQn);

  HAL_NVIC_SetPriority(EXTI4_IRQn, 0, 0);
  HAL_NVIC_EnableIRQ(EXTI4_IRQn);

}

void HAL_TIM_PeriodElapsedCallback(TIM_HandleTypeDef *htim) {
  if (htim->Instance == TIM1) {
    HAL_IncTick();
  }
  /* USER CODE BEGIN Callback 1 */
#if WHEEL_ENABLE
  if (htim->Instance != TIM1) {
    static wheel_t *wheel_fl = NULL, *wheel_fr = NULL, *wheel_rl = NULL,
                   *wheel_rr = NULL;
    if (!wheel_fl) wheel_fl = open_wheel_instance(0);
    if (!wheel_fr) wheel_fr = open_wheel_instance(1);
    if (!wheel_rl) wheel_rl = open_wheel_instance(2);
    if (!wheel_rr) wheel_rr = open_wheel_instance(3);

    wheel_bsp_overflow_interrupt(wheel_fl, htim);
    wheel_bsp_overflow_interrupt(wheel_fr, htim);
    wheel_bsp_overflow_interrupt(wheel_rl, htim);
    wheel_bsp_overflow_interrupt(wheel_rr, htim);
  }
#endif
  /* USER CODE END Callback 1 */
}

void Error_Handler(void) {
  /* USER CODE BEGIN Error_Handler_Debug */
  SEGGER_RTT_printf(0, "Error_Handler\n");
  /* User can add his own implementation to report the HAL error return state */
  __disable_irq();
  while (1) {
  }
  /* USER CODE END Error_Handler_Debug */
}

#ifdef USE_FULL_ASSERT
/**
 * @brief  Reports the name of the source file and the source line number
 *         where the assert_param error has occurred.
 * @param  file: pointer to the source file name
 * @param  line: assert_param error line source number
 * @retval None
 */
void assert_failed(uint8_t *file, uint32_t line) {
  /* USER CODE BEGIN 6 */
  /* User can add his own implementation to report the file name and line
     number, ex: printf("Wrong parameters value: file %s on line %d\r\n", file,
     line) */
  /* USER CODE END 6 */
}
#endif /* USE_FULL_ASSERT */
